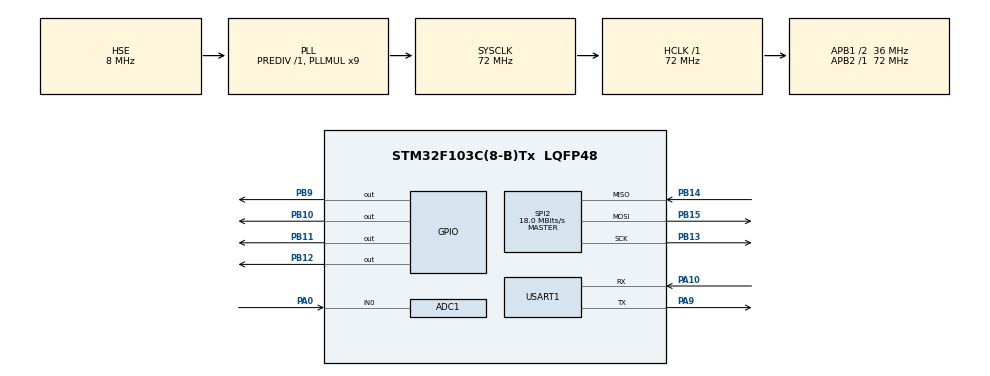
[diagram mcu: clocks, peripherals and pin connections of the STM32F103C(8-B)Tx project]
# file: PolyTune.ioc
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ADC1.Channel-2\#ChannelRegularConversion=ADC_CHANNEL_0
ADC1.ContinuousConvMode=DISABLE
ADC1.EnableAnalogWatchDog=false
ADC1.ExternalTrigConv=ADC_EXTERNALTRIGCONV_T3_TRGO
ADC1.NbrOfConversion=1
ADC1.NbrOfConversionFlag=1
ADC1.Rank-2\#ChannelRegularConversion=1
ADC1.SamplingTime-2\#ChannelRegularConversion=ADC_SAMPLETIME_55CYCLES_5
ADC1.master=1
Dma.ADC1.0.Direction=DMA_PERIPH_TO_MEMORY
Dma.ADC1.0.Instance=DMA1_Channel1
Dma.ADC1.0.MemDataAlignment=DMA_MDATAALIGN_WORD
Dma.ADC1.0.MemInc=DMA_MINC_ENABLE
Dma.ADC1.0.Mode=DMA_CIRCULAR
Dma.ADC1.0.PeriphDataAlignment=DMA_PDATAALIGN_WORD
Dma.ADC1.0.PeriphInc=DMA_PINC_DISABLE
Dma.ADC1.0.Priority=DMA_PRIORITY_HIGH
Dma.Request0=ADC1
Mcu.Family=STM32F1
Mcu.Name=STM32F103C(8-B)Tx
Mcu.Package=LQFP48
NVIC.DMA1_Channel1_IRQn=true\:0\:0\:false\:false\:true\:false\:true\:true
NVIC.PriorityGroup=NVIC_PRIORITYGROUP_4
NVIC.USART1_IRQn=true\:0\:0\:false\:false\:true\:true\:true\:true
PA0-WKUP.Signal=ADCx_IN0
PA10.Mode=Asynchronous
PA10.Signal=USART1_RX
PA13.Mode=Serial_Wire
PA13.Signal=SYS_JTMS-SWDIO
PA14.Mode=Serial_Wire
PA14.Signal=SYS_JTCK-SWCLK
PA9.Mode=Asynchronous
PA9.Signal=USART1_TX
PB10.GPIO_PuPd=GPIO_PULLUP
PB10.GPIO_Speed=GPIO_SPEED_FREQ_HIGH
PB10.PinState=GPIO_PIN_SET
PB10.Signal=GPIO_Output
PB11.GPIO_PuPd=GPIO_PULLUP
PB11.GPIO_Speed=GPIO_SPEED_FREQ_HIGH
PB11.PinState=GPIO_PIN_SET
PB11.Signal=GPIO_Output
PB12.GPIO_PuPd=GPIO_PULLUP
PB12.GPIO_Speed=GPIO_SPEED_FREQ_HIGH
PB12.PinState=GPIO_PIN_SET
PB12.Signal=GPIO_Output
PB13.Mode=Full_Duplex_Master
PB13.Signal=SPI2_SCK
PB14.Mode=Full_Duplex_Master
PB14.Signal=SPI2_MISO
PB15.Mode=Full_Duplex_Master
PB15.Signal=SPI2_MOSI
PB9.GPIO_Speed=GPIO_SPEED_FREQ_HIGH
PB9.PinState=GPIO_PIN_SET
PB9.Signal=GPIO_Output
PD0-OSC_IN.Mode=HSE-External-Oscillator
PD0-OSC_IN.Signal=RCC_OSC_IN
PD1-OSC_OUT.Mode=HSE-External-Oscillator
PD1-OSC_OUT.Signal=RCC_OSC_OUT
ProjectManager.HeapSize=0x200
ProjectManager.StackSize=0x400
ProjectManager.TargetToolchain=MDK-ARM V5
RCC.ADCPresc=RCC_ADCPCLK2_DIV6
RCC.AHBFreq_Value=72000000
RCC.APB1CLKDivider=RCC_HCLK_DIV2
RCC.APB1Freq_Value=36000000
RCC.APB1TimFreq_Value=72000000
RCC.APB2Freq_Value=72000000
RCC.APB2TimFreq_Value=72000000
RCC.HCLKFreq_Value=72000000
RCC.PLLMUL=RCC_PLL_MUL9
RCC.PLLSourceVirtual=RCC_PLLSOURCE_HSE
RCC.SYSCLKFreq_VALUE=72000000
RCC.SYSCLKSource=RCC_SYSCLKSOURCE_PLLCLK
RCC.USBFreq_Value=72000000
SH.ADCx_IN0.0=ADC1_IN0,IN0
SPI2.BaudRatePrescaler=SPI_BAUDRATEPRESCALER_2
SPI2.CalculateBaudRate=18.0 MBits/s
SPI2.Direction=SPI_DIRECTION_2LINES
SPI2.Mode=SPI_MODE_MASTER
SPI2.VirtualType=VM_MASTER
TIM3.Period=1000-1
TIM3.Prescaler=72-1
TIM3.TIM_MasterOutputTrigger=TIM_TRGO_UPDATE
USART1.VirtualMode=VM_ASYNC
VP_TIM3_VS_ClockSourceINT.Mode=Internal
board=custom

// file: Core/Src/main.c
/* USER CODE BEGIN Header */
/**
  ******************************************************************************
  * @file           : main.c
  * @brief          : Main program body
  ******************************************************************************
  * @attention
  *
  * Copyright (c) 2025 STMicroelectronics.
  * All rights reserved.
  *
  * This software is licensed under terms that can be found in the LICENSE file
  * in the root directory of this software component.
  * If no LICENSE file comes with this software, it is provided AS-IS.
  *
  ******************************************************************************
  */
/* USER CODE END Header */
#include "main.h"
#include "adc.h"
#include "dma.h"
#include "spi.h"
#include "tim.h"
#include "usart.h"
#include "gpio.h"

/* USER CODE BEGIN Includes */
#include <stdio.h>
#include "arm_math.h"
#include "arm_const_structs.h"

#include "test_data.h"
#include "lookup.h"

#include "lcd.h"
/* USER CODE END Includes */

void SystemClock_Config(void);

/* USER CODE BEGIN 0 */

#define TEST_LENGTH_SAMPLES 2048
#define SAMPLE_RATE 1024

extern float32_t testInput_f32_10khz[TEST_LENGTH_SAMPLES];
static float32_t testOutput[TEST_LENGTH_SAMPLES / 2];
uint32_t fftTestSize = 1024;

uint32_t adcBuffer[1];
volatile uint8_t adcFlag = 0;
float32_t voltage = 0.0;

#define LENGTH_SAMPLES 2048
static float32_t frame[LENGTH_SAMPLES];
static float32_t freqBins[LENGTH_SAMPLES / 2];
uint32_t fftSize = 1024;

arm_cfft_instance_f32 varInstCfftF32;

#define ABS(x) ((x) < 0 ? -(x) : (x))

/* USER CODE END 0 */

int main(void)
{

  /* MCU Configuration--------------------------------------------------------*/

  /* Reset of all peripherals, Initializes the Flash interface and the Systick. */
  HAL_Init();

  /* Configure the system clock */
  SystemClock_Config();

  /* Initialize all configured peripherals */
  MX_GPIO_Init();
  MX_DMA_Init();
  MX_ADC1_Init();
  MX_USART1_UART_Init();
  MX_TIM3_Init();
  MX_SPI2_Init();
  /* USER CODE BEGIN 2 */

  HAL_SPI_Init(&hspi2);
  HAL_TIM_Base_Start(&htim3);
  HAL_ADC_Start_DMA(&hadc1, adcBuffer, 1);

  arm_status status = ARM_MATH_SUCCESS;
  status = arm_cfft_init_1024_f32(&varInstCfftF32);

  /*
  arm_cfft_f32(&varInstCfftF32, testInput_f32_10khz, 0, 1);
  arm_cmplx_mag_f32(testInput_f32_10khz, testOutput, fftTestSize);

  for (int i = 0; i < fftTestSize / 2; i++)
  {
    printf("%.3f, ", testOutput[i]);
  }
  */

  uint16_t ptr = 0;

  char prev_note = 'A';
  char displayNote = 'A';
  uint8_t sharp = 0;

  LCD_Init();

  /* USER CODE END 2 */

  /* Infinite loop */
  /* USER CODE BEGIN WHILE */
  while (1)
  {
    printf("%f\n", voltage);

    if (adcFlag)
    {
      if (ptr == 2048)
        ptr = 0;
      adcFlag = 0;

      frame[ptr] = voltage;
      ptr += 2;
    }

    /*
    if (ptr == 2046)
      printf("\n----------\n");
    */

    if (ptr <= 256 || ptr % 512 != 0)
      continue;

    float32_t sum = 0.0;
    for (int i = 0; i < ptr / 2; i++)
    {
      if (frame[2 * i] == 0)
        break;
      sum += frame[2 * i];
    }
    float32_t avg = 0.0;
    for (int i = 0; i < ptr / 2; i++)
      frame[2 * i] -= avg;

    arm_cfft_f32(&varInstCfftF32, frame, 0, 1);
    arm_cmplx_mag_f32(frame, freqBins, fftSize);

    float32_t maxMag = 0.0;
    uint32_t maxIndex = 0;
    arm_max_f32(freqBins, fftSize, &maxMag, &maxIndex);
    float32_t maxFreq = maxIndex * 1000.0 / 1024.0;

    /*
    for (int i = 0; i < fftSize / 2; i++)
    {
      printf("%.3f,", freqBins[i]);
    }
    printf("\nmax freq: %fHz at %d\n", maxIndex * 1000.0 / 1024.0, maxIndex);
    */

    float32_t absDelta = 1000.0;
    float32_t delta = 1000.0;
    uint8_t closestNoteIndex = 0;
    for (int i = 0; i < FREQ_COUNT; i++)
    {
      float32_t temp = ABS(maxFreq - freqTable[i]);
      if (temp < absDelta)
      {
        absDelta = temp;
        delta = freqTable[i] - maxFreq;
        closestNoteIndex = i;
      }
    }
    char note = noteNameTable[closestNoteIndex % 11];

    // TODO: display
    if (note == prev_note)
      continue;
    else
    {
      displayNote = note;

      switch (note)
      {
        case '!':
          displayNote = 'A';
          sharp = 1;
          break;
        case '@':
          displayNote = 'C';
          sharp = 1;
          break;
        case '$':
          displayNote = 'D';
          sharp = 1;
          break;
        case '%':
          displayNote = 'G';
          sharp = 1;
          break;
        default:
          sharp = 0;
          break;
      }

      LCD_ShowChar(116, 30, BLUE, WHITE, displayNote, 16);
      if (sharp)
        LCD_ShowChar(130, 30, BLUE, WHITE, '#', 16);
      else
        LCD_ShowChar(130, 30, WHITE, WHITE, '#', 16);

      if (absDelta < 1)
      {
        LCD_ShowChar(116, 120, WHITE, GREEN, 'O', 16);
      }
      else
      {
        if (delta < 0)
          LCD_ShowChar(116, 120, RED, WHITE, 'H', 16);
        else
          LCD_ShowChar(116, 120, RED, WHITE, 'L', 16);
      }
    }
  }
    /* USER CODE END WHILE */

}

void SystemClock_Config(void)
{
  RCC_OscInitTypeDef RCC_OscInitStruct = {0};
  RCC_ClkInitTypeDef RCC_ClkInitStruct = {0};
  RCC_PeriphCLKInitTypeDef PeriphClkInit = {0};

  /** Initializes the RCC Oscillators according to the specified parameters
  * in the RCC_OscInitTypeDef structure.
  */
  RCC_OscInitStruct.OscillatorType = RCC_OSCILLATORTYPE_HSE;
  RCC_OscInitStruct.HSEState = RCC_HSE_ON;
  RCC_OscInitStruct.HSEPredivValue = RCC_HSE_PREDIV_DIV1;
  RCC_OscInitStruct.HSIState = RCC_HSI_ON;
  RCC_OscInitStruct.PLL.PLLState = RCC_PLL_ON;
  RCC_OscInitStruct.PLL.PLLSource = RCC_PLLSOURCE_HSE;
  RCC_OscInitStruct.PLL.PLLMUL = RCC_PLL_MUL9;
  if (HAL_RCC_OscConfig(&RCC_OscInitStruct) != HAL_OK)
  {
    Error_Handler();
  }

  /** Initializes the CPU, AHB and APB buses clocks
  */
  RCC_ClkInitStruct.ClockType = RCC_CLOCKTYPE_HCLK|RCC_CLOCKTYPE_SYSCLK
                              |RCC_CLOCKTYPE_PCLK1|RCC_CLOCKTYPE_PCLK2;
  RCC_ClkInitStruct.SYSCLKSource = RCC_SYSCLKSOURCE_PLLCLK;
  RCC_ClkInitStruct.AHBCLKDivider = RCC_SYSCLK_DIV1;
  RCC_ClkInitStruct.APB1CLKDivider = RCC_HCLK_DIV2;
  RCC_ClkInitStruct.APB2CLKDivider = RCC_HCLK_DIV1;

  if (HAL_RCC_ClockConfig(&RCC_ClkInitStruct, FLASH_LATENCY_2) != HAL_OK)
  {
    Error_Handler();
  }
  PeriphClkInit.PeriphClockSelection = RCC_PERIPHCLK_ADC;
  PeriphClkInit.AdcClockSelection = RCC_ADCPCLK2_DIV6;
  if (HAL_RCCEx_PeriphCLKConfig(&PeriphClkInit) != HAL_OK)
  {
    Error_Handler();
  }
}

/* USER CODE BEGIN 4 */
int fputc(int ch, FILE* f)
{
  HAL_UART_Transmit(&huart1, (uint8_t*) &ch, 1, 0xffff);
  return ch;
}

int fgetc(FILE* f)
{
  uint8_t ch = 0;
  HAL_UART_Receive(&huart1, &ch, 1, 0xffff);
  return ch;
}

void HAL_ADC_ConvCpltCallback(ADC_HandleTypeDef* hadc)
{
  adcFlag = 1;
  voltage = adcBuffer[0] * 3.3 / 4096.0;
  //HAL_ADC_Start_DMA(&hadc1, adcBuffer, 1);
}
/* USER CODE END 4 */

void Error_Handler(void)
{
  __disable_irq();
  while (1)
  {
  }
}
